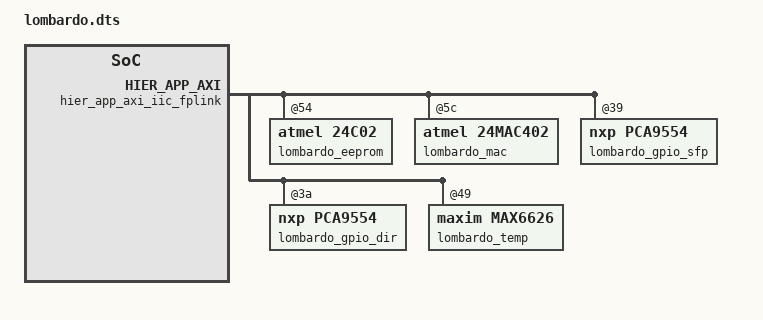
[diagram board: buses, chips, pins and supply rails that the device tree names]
/dts-v1/;
/plugin/;

&hier_app_axi_iic_fplink {

    lombardo_eeprom: eeprom@54 {
        compatible = "atmel,24c02";
        reg = <0x54>;
    };

    lombardo_mac: eeprom@5c {
        compatible = "atmel,24mac402";
        reg = <0x5c>;
    };

    lombardo_gpio_sfp: gpio@39 {
        compatible = "nxp,pca9554";
        reg = <0x39>;
        gpio-controller;
        gpio-line-names =
            "lombardo_sfp_tx_fault",
            "lombardo_sfp_tx_disable",
            "lombardo_sfp_mod_absent",
            "lombardo_sfp_rs0",
            "lombardo_sfp_led_green",
            "lombardo_sfp_led_yellow",
            "lombardo_sfp_rs1",
            "lombardo_sfp_rx_los";
    };

    lombardo_gpio_dir: gpio@3a {
        compatible = "nxp,pca9554";
        reg = <0x3a>;
        gpio-controller;
        gpio-line-names =
            "lombardo_trig1_re_b",
            "lombardo_trig1_de",
            "lombardo_trig0_re_b",
            "lombardo_trig0_de",
            "lombardo_clk_de",
            "lombardo_clk_re_b",
            "lombardo_sfp_power_en",
            "lombardo_sfp_i2c_en";
    };

    lombardo_temp: max6626@49 {
        compatible = "maxim,max6626";
        reg = <0x49>;
    };
};
